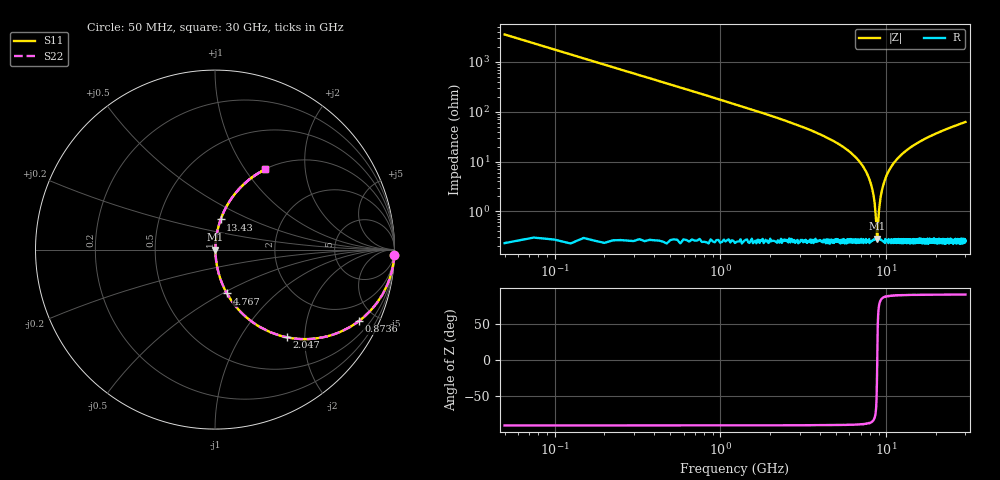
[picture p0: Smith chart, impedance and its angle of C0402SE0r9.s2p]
!	AVX Thin Film Operation 	Date: April 2014
!	Description: Accu-P® Series, Thin Film  SMD RF Capacitor
!	Part Number: 04021J0R9PBSTR
# MHZ S MA R 50
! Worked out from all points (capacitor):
!   1201 points, 50 MHz to 30 GHz, reference 50 ohm
!   read as one part in series: C = 899 fF near 199.8 MHz
!   lowest |Z| = 281 mohm at 8.81 GHz (marker M1)
!   series resonance near 8.821 GHz, so ESL is about 360 pH
!   S11 on the Smith chart (normalised r, x): 50 MHz: 0, -71; 873.6 MHz: 1.01, -4.01; 2.047 GHz: 1.01, -1.64; 4.767 GHz: 1.01, -0.52; 13.43 GHz: 1.00, +0.35; 30 GHz: 1.00, +1.25
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50  1 -1.6  0.028 88.4  0.028 88.4  1 -1.6
249.667  0.99 -8.0  0.14 81.9  0.14 81.9  0.99 -8.0
374.458  0.978 -12.0  0.207 78.0  0.207 78.0  0.978 -12.0
873.625  0.894 -26.5  0.446 63.4  0.446 63.4  0.894 -26.5
2046.667  0.632 -50.6  0.773 39.2  0.773 39.2  0.632 -50.6
3219.708  0.429 -64.3  0.901 25.4  0.901 25.4  0.429 -64.3
4767.125  0.253 -74.8  0.965 14.7  0.965 14.7  0.253 -74.8
5041.667  0.229 -76.1  0.971 13.3  0.971 13.3  0.229 -76.1
6688.917  0.111 -82.3  0.991 6.4  0.991 6.4  0.111 -82.3
7787.083  0.05 -84.2  0.996 2.9  0.996 2.9  0.05 -84.2
8361.125  0.022 -82.1  0.997 1.2  0.997 1.2  0.022 -82.1
8810.375  0.002572 -11.0  0.997 0.0  0.997 0.0  0.002572 -11.0
8910.208  0.00474 57.6  0.997 -0.2  0.997 -0.2  0.00474 57.6
9109.875  0.013 78.2  0.997 -0.7  0.997 -0.7  0.013 78.2
9334.5  0.023 82.3  0.997 -1.3  0.997 -1.3  0.023 82.3
10058.29  0.053 84.2  0.996 -3.0  0.996 -3.0  0.053 84.2
11431  0.104 82.6  0.992 -6.0  0.992 -6.0  0.104 82.6
13427.67  0.171 79.3  0.983 -9.8  0.983 -9.8  0.171 79.3
15025  0.218 76.8  0.974 -12.6  0.974 -12.6  0.218 76.8
20016.67  0.343 69.5  0.937 -20.1  0.937 -20.1  0.343 69.5
25033.29  0.445 63.3  0.893 -26.4  0.893 -26.4  0.445 63.3
30000  0.528 57.9  0.847 -31.9  0.847 -31.9  0.528 57.9
